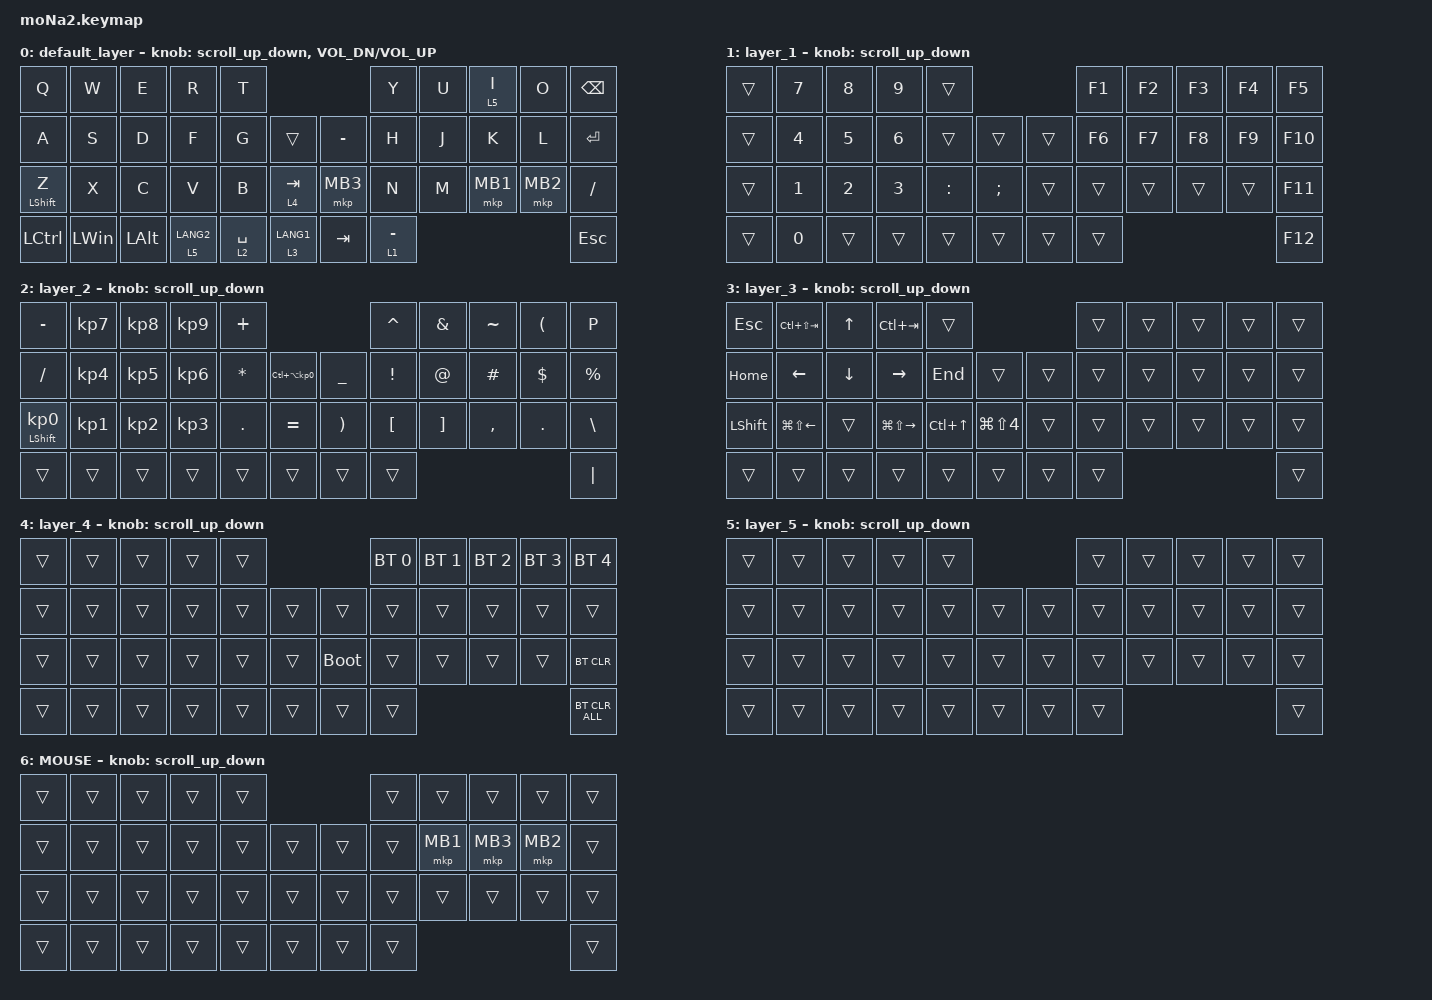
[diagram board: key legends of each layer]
#include <behaviors.dtsi>
#include <dt-bindings/zmk/bt.h>
#include <dt-bindings/zmk/keys.h>
#include <dt-bindings/zmk/pointing.h>

#define ZMK_POINTING_DEFAULT_SCRL_VAL 100
#define MOUSE 6

&mt {
    flavor = "balanced";
    quick-tap-ms = <0>;
};

/ {
    combos { compatible = "zmk,combos"; };

    macros {
        to_layer_0: to_layer_0 {
            compatible = "zmk,behavior-macro-one-param";
            #binding-cells = <1>;
            bindings = <&to 0 &macro_param_1to1 &kp MACRO_PLACEHOLDER>;
            label = "TO_LAYER_0";
        };
    };

    behaviors {
        lt_to_layer_0: lt_to_layer_0 {
            compatible = "zmk,behavior-hold-tap";
            label = "LAYER_TAP_TO_0";
            bindings = <&mo>, <&to_layer_0>;

            #binding-cells = <2>;
            tapping-term-ms = <200>;
        };

        scroll_up_down: behavior_sensor_rotate_mouse_wheel_up_down {
            compatible = "zmk,behavior-sensor-rotate";
            #sensor-binding-cells = <0>;
            bindings = <&msc SCRL_UP>, <&msc SCRL_DOWN>;

            tap-ms = <20>;
        };
    };

    keymap {
        compatible = "zmk,keymap";

        default_layer {
            bindings = <
&kp Q             &kp W         &kp E         &kp R        &kp T                                  &kp Y        &kp U  &lt 5 I   &kp O     &kp BACKSPACE
&kp A             &kp S         &kp D         &kp F        &kp G        &trans         &kp MINUS  &kp H        &kp J  &kp K     &kp L     &kp ENTER
&mt LEFT_SHIFT Z  &kp X         &kp C         &kp V        &kp B        &lt 4 TAB      &mkp MB3   &kp N        &kp M  &mkp MB1  &mkp MB2  &kp SLASH
&kp LCTRL         &kp LEFT_WIN  &kp LEFT_ALT  &lt 5 LANG2  &lt 2 SPACE  &lt 3 LANG1    &kp TAB    &lt 1 MINUS                             &kp ESC
            >;

            sensor-bindings =
                <&scroll_up_down>,
                <&inc_dec_kp C_VOL_DN C_VOL_UP>;
        };

        layer_1 {
            bindings = <
&trans  &kp N7  &kp N8  &kp N9  &trans                              &kp F1  &kp F2  &kp F3  &kp F4  &kp F5
&trans  &kp N4  &kp N5  &kp N6  &trans     &trans           &trans  &kp F6  &kp F7  &kp F8  &kp F9  &kp F10
&trans  &kp N1  &kp N2  &kp N3  &kp COLON  &kp SEMICOLON    &trans  &trans  &trans  &trans  &trans  &kp F11
&trans  &kp N0  &trans  &trans  &trans     &trans           &trans  &trans                          &kp F12
            >;

            sensor-bindings = <&scroll_up_down>;
        };

        layer_2 {
            bindings = <
&kp MINUS                   &kp KP_NUMBER_7  &kp KP_NUMBER_8  &kp KP_NUMBER_9  &kp PLUS                                                        &kp CARET         &kp AMPERSAND      &kp TILDE  &kp LEFT_PARENTHESIS  &kp P
&kp SLASH                   &kp KP_NUMBER_4  &kp KP_NUMBER_5  &kp KP_NUMBER_6  &kp ASTERISK  &kp LC(LA(KP_NUMBER_0))    &kp UNDERSCORE         &kp EXCLAMATION   &kp AT_SIGN        &kp HASH   &kp DOLLAR            &kp PERCENT
&mt LEFT_SHIFT KP_NUMBER_0  &kp KP_NUMBER_1  &kp KP_NUMBER_2  &kp KP_NUMBER_3  &kp PERIOD    &kp EQUAL                  &kp RIGHT_PARENTHESIS  &kp LEFT_BRACKET  &kp RIGHT_BRACKET  &kp COMMA  &kp PERIOD            &kp BACKSLASH
&trans                      &trans           &trans           &trans           &trans        &trans                     &trans                 &trans                                                                &kp PIPE
            >;

            sensor-bindings = <&scroll_up_down>;
        };

        layer_3 {
            bindings = <
&kp ESCAPE      &kp LC(LS(TAB))         &kp UP_ARROW    &kp LC(TAB)              &trans                                            &trans  &trans  &trans  &trans  &trans
&kp HOME        &kp LEFT_ARROW          &kp DOWN_ARROW  &kp RIGHT_ARROW          &kp END           &trans                  &trans  &trans  &trans  &trans  &trans  &trans
&kp LEFT_SHIFT  &kp LG(LS(LEFT_ARROW))  &trans          &kp LG(LS(RIGHT_ARROW))  &kp LC(UP_ARROW)  &kp LG(LS(NUMBER_4))    &trans  &trans  &trans  &trans  &trans  &trans
&trans          &trans                  &trans          &trans                   &trans            &trans                  &trans  &trans                          &trans
            >;

            sensor-bindings = <&scroll_up_down>;
        };

        layer_4 {
            bindings = <
&trans  &trans  &trans  &trans  &trans                         &bt BT_SEL 0  &bt BT_SEL 1  &bt BT_SEL 2  &bt BT_SEL 3  &bt BT_SEL 4
&trans  &trans  &trans  &trans  &trans  &trans    &trans       &trans        &trans        &trans        &trans        &trans
&trans  &trans  &trans  &trans  &trans  &trans    &bootloader  &trans        &trans        &trans        &trans        &bt BT_CLR
&trans  &trans  &trans  &trans  &trans  &trans    &trans       &trans                                                  &bt BT_CLR_ALL
            >;

            sensor-bindings = <&scroll_up_down>;
        };

        layer_5 {
            bindings = <
&trans  &trans  &trans  &trans  &trans                    &trans  &trans  &trans  &trans  &trans
&trans  &trans  &trans  &trans  &trans  &trans    &trans  &trans  &trans  &trans  &trans  &trans
&trans  &trans  &trans  &trans  &trans  &trans    &trans  &trans  &trans  &trans  &trans  &trans
&trans  &trans  &trans  &trans  &trans  &trans    &trans  &trans                          &trans
            >;

            sensor-bindings = <&scroll_up_down>;
        };

        MOUSE {
            bindings = <
&trans  &trans  &trans  &trans  &trans                    &trans  &trans    &trans    &trans    &trans
&trans  &trans  &trans  &trans  &trans  &trans    &trans  &trans  &mkp MB1  &mkp MB3  &mkp MB2  &trans
&trans  &trans  &trans  &trans  &trans  &trans    &trans  &trans  &trans    &trans    &trans    &trans
&trans  &trans  &trans  &trans  &trans  &trans    &trans  &trans                                &trans
            >;

            sensor-bindings = <&scroll_up_down>;
        };
    };
};
